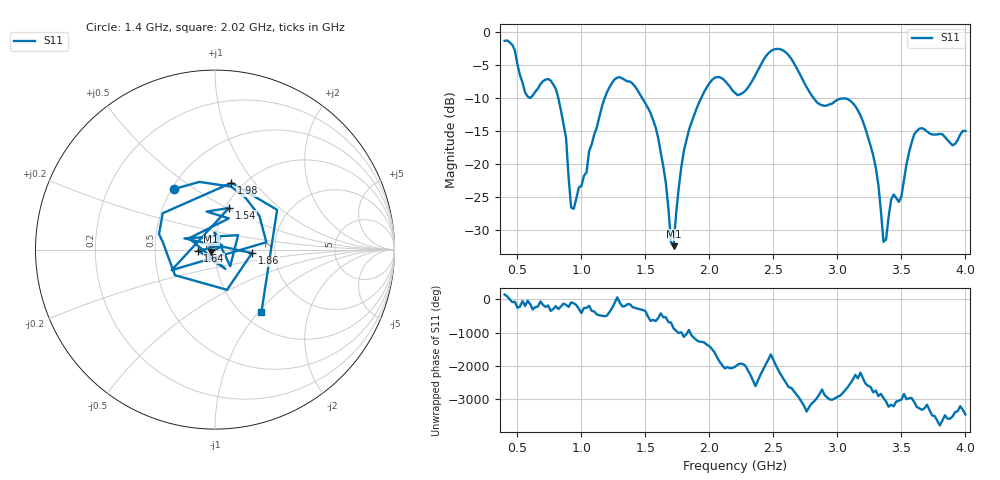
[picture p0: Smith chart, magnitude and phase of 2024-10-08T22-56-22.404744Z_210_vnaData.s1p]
! Created with skrf (http://scikit-rf.org).
# Hz S RI R 50.0
!freq ReS11 ImS11
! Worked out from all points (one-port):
!   181 points, 400 MHz to 4 GHz, reference 50 ohm
!   lowest |S11| = -32.4 dB at 1.72 GHz (marker M1), VSWR 1.05, Z = 47.9 - j1.07 ohm
!   |S11| at or under -10 dB: 820.1 MHz to 1.181 GHz (361.2 MHz wide, 36.1 % of centre); 1.476 GHz to 1.935 GHz (459.4 MHz wide, 26.9 % of centre); 2.815 GHz to end of sweep
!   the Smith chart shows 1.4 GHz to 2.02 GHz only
!   S11 on the Smith chart (normalised r, x): 1.4 GHz: 0.51, +0.41; 1.54 GHz: 1.04, +0.51; 1.64 GHz: 0.82, -0.01; 1.86 GHz: 1.52, -0.06; 1.98 GHz: 0.89, +0.77; 2.02 GHz: 1.21, -1.04
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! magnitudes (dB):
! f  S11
! 400 MHz  -1.3
! 580 MHz  -9.7
! 760 MHz  -7.3
! 860 MHz  -13.9
! 920 MHz  -26.6
! 940 MHz  -26.8
! 1.18 GHz  -10.1
! 1.3 GHz  -6.8
! 1.4 GHz  -7.8
! 1.54 GHz  -12.2
! 1.64 GHz  -20.3
! 1.72 GHz  -32.4
! 1.76 GHz  -23.7
! 1.86 GHz  -13.7
! 1.98 GHz  -8.3
! 2.02 GHz  -7.2
! 2.2 GHz  -9.2
! 2.5 GHz  -2.6
! 2.66 GHz  -4.7
! 2.86 GHz  -10.9
! 3.1 GHz  -10.4
! 3.28 GHz  -18.7
! 3.36 GHz  -31.8
! 3.42 GHz  -25.4
! 3.5 GHz  -24.9
! 3.56 GHz  -18.2
! 3.64 GHz  -14.6
! 4 GHz  -15.0
